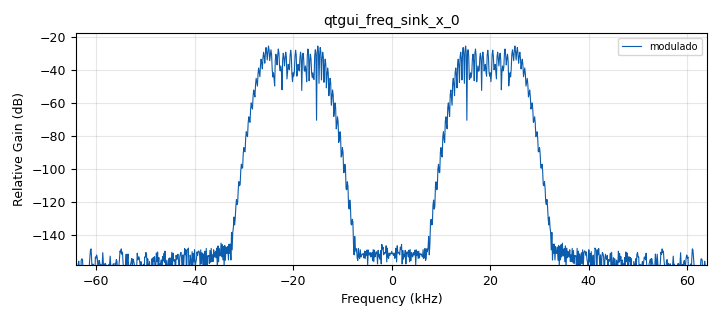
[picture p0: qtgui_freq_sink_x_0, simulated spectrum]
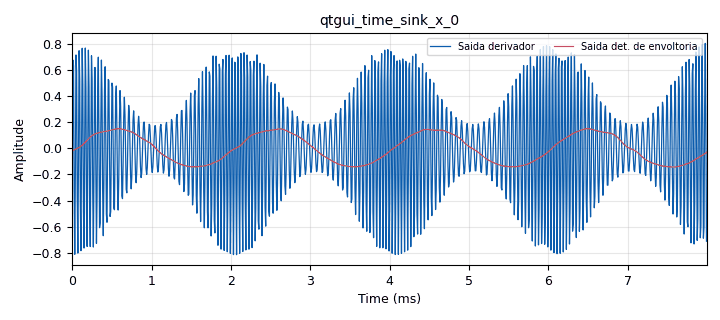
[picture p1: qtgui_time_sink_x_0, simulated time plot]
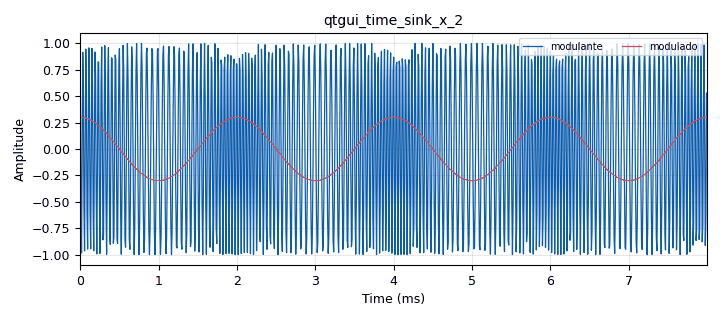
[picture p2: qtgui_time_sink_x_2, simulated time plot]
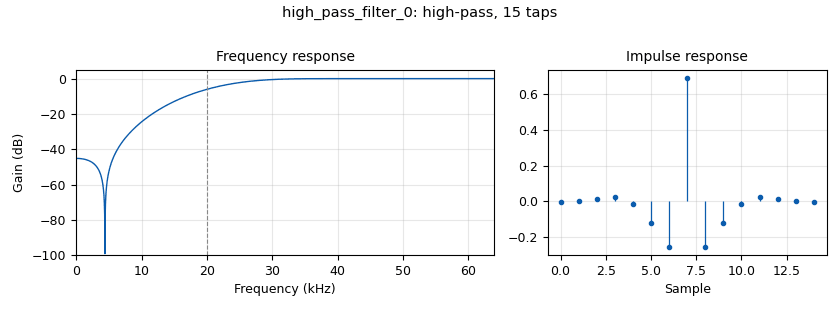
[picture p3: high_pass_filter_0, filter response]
<?xml version='1.0' encoding='utf-8'?>
<?grc format='1' created='3.7.13'?>
<flow_graph>
<block>
<key>options</key>
<param><key>id</key><value>Labo4_4</value></param>
<param><key>category</key><value>Custom</value></param>
<param><key>generate_options</key><value>qt_gui</value></param>
<param><key>title</key><value>Desmodulacao FM com Deteccao por Inclinacao</value></param>
</block>
<block>
<key>variable_qtgui_range</key>
<param><key>id</key><value>A</value></param>
<param><key>value</key><value>0.3</value></param>
<param><key>gui_hint</key><value>0,0,1,1</value></param>
<param><key>label</key><value>Ampl modulante</value></param>
<param><key>orient</key><value>Qt.Horizontal</value></param>
<param><key>start</key><value>0</value></param>
<param><key>step</key><value>0.01</value></param>
<param><key>stop</key><value>0.7</value></param>
</block>
<block>
<key>variable_qtgui_range</key>
<param><key>id</key><value>F</value></param>
<param><key>value</key><value>500</value></param>
<param><key>gui_hint</key><value>0,1,1,1</value></param>
<param><key>label</key><value>Freq modulante</value></param>
<param><key>orient</key><value>Qt.Horizontal</value></param>
<param><key>start</key><value>0</value></param>
<param><key>step</key><value>100</value></param>
<param><key>stop</key><value>1000</value></param>
</block>
<block>
<key>variable</key>
<param><key>id</key><value>samp_rate</value></param>
<param><key>value</key><value>32000*4</value></param>
</block>
<block>
<key>analog_am_demod_cf</key>
<param><key>id</key><value>analog_am_demod_cf_0</value></param>
<param><key>audio_decim</key><value>1</value></param>
<param><key>audio_pass</key><value>5000</value></param>
<param><key>audio_stop</key><value>5500</value></param>
<param><key>chan_rate</key><value>samp_rate</value></param>
</block>
<block>
<key>analog_sig_source_x</key>
<param><key>id</key><value>analog_sig_source_x_0</value></param>
<param><key>amp</key><value>A</value></param>
<param><key>freq</key><value>F</value></param>
<param><key>offset</key><value>0.0</value></param>
<param><key>type</key><value>float</value></param>
<param><key>samp_rate</key><value>samp_rate</value></param>
<param><key>waveform</key><value>analog.GR_SIN_WAVE</value></param>
</block>
<block>
<key>blocks_add_const_vxx</key>
<param><key>id</key><value>blocks_add_const_vxx_0</value></param>
<param><key>const</key><value>1</value></param>
<param><key>type</key><value>float</value></param>
</block>
<block>
<key>blocks_float_to_complex</key>
<param><key>id</key><value>blocks_float_to_complex_0</value></param>
</block>
<block>
<key>blocks_throttle</key>
<param><key>id</key><value>blocks_throttle_0</value></param>
<param><key>samples_per_second</key><value>samp_rate</value></param>
<param><key>type</key><value>float</value></param>
</block>
<block>
<key>blocks_vco_f</key>
<param><key>id</key><value>blocks_vco_f_0</value></param>
<param><key>amplitude</key><value>1</value></param>
<param><key>samp_rate</key><value>samp_rate</value></param>
<param><key>sensitivity</key><value>2*6.28*10**4</value></param>
</block>
<block>
<key>dc_blocker_xx</key>
<param><key>id</key><value>dc_blocker_xx_0</value></param>
<param><key>length</key><value>256</value></param>
<param><key>long_form</key><value>True</value></param>
<param><key>type</key><value>ff</value></param>
</block>
<block>
<key>high_pass_filter</key>
<param><key>id</key><value>high_pass_filter_0</value></param>
<param><key>cutoff_freq</key><value>20000</value></param>
<param><key>decim</key><value>1</value></param>
<param><key>type</key><value>fir_filter_fff</value></param>
<param><key>gain</key><value>1</value></param>
<param><key>samp_rate</key><value>samp_rate</value></param>
<param><key>width</key><value>20000</value></param>
<param><key>win</key><value>firdes.WIN_HAMMING</value></param>
</block>
<block>
<key>qtgui_freq_sink_x</key>
<param><key>id</key><value>qtgui_freq_sink_x_0</value></param>
<param><key>autoscale</key><value>True</value></param>
<param><key>bw</key><value>samp_rate</value></param>
<param><key>fc</key><value>0</value></param>
<param><key>fftsize</key><value>1024</value></param>
<param><key>grid</key><value>True</value></param>
<param><key>label1</key><value>modulado</value></param>
<param><key>showports</key><value>True</value></param>
<param><key>type</key><value>float</value></param>
<param><key>wintype</key><value>firdes.WIN_BLACKMAN_hARRIS</value></param>
</block>
<block>
<key>qtgui_time_sink_x</key>
<param><key>id</key><value>qtgui_time_sink_x_0</value></param>
<param><key>autoscale</key><value>True</value></param>
<param><key>grid</key><value>True</value></param>
<param><key>color1</key><value>"blue"</value></param>
<param><key>label1</key><value>Saida derivador</value></param>
<param><key>color2</key><value>"red"</value></param>
<param><key>label2</key><value>Saida det. de envoltoria</value></param>
<param><key>name</key><value></value></param>
<param><key>nconnections</key><value>2</value></param>
<param><key>size</key><value>1024</value></param>
<param><key>srate</key><value>samp_rate</value></param>
<param><key>type</key><value>float</value></param>
</block>
<block>
<key>qtgui_time_sink_x</key>
<param><key>id</key><value>qtgui_time_sink_x_2</value></param>
<param><key>autoscale</key><value>True</value></param>
<param><key>grid</key><value>True</value></param>
<param><key>color1</key><value>"blue"</value></param>
<param><key>label1</key><value>modulante</value></param>
<param><key>color2</key><value>"red"</value></param>
<param><key>label2</key><value>modulado</value></param>
<param><key>name</key><value></value></param>
<param><key>nconnections</key><value>2</value></param>
<param><key>size</key><value>1024</value></param>
<param><key>srate</key><value>samp_rate</value></param>
<param><key>type</key><value>float</value></param>
</block>
<connection><source_block_id>analog_am_demod_cf_0</source_block_id><sink_block_id>dc_blocker_xx_0</sink_block_id><source_key>0</source_key><sink_key>0</sink_key></connection>
<connection><source_block_id>analog_sig_source_x_0</source_block_id><sink_block_id>blocks_throttle_0</sink_block_id><source_key>0</source_key><sink_key>0</sink_key></connection>
<connection><source_block_id>analog_sig_source_x_0</source_block_id><sink_block_id>qtgui_time_sink_x_2</sink_block_id><source_key>0</source_key><sink_key>1</sink_key></connection>
<connection><source_block_id>blocks_add_const_vxx_0</source_block_id><sink_block_id>blocks_vco_f_0</sink_block_id><source_key>0</source_key><sink_key>0</sink_key></connection>
<connection><source_block_id>blocks_float_to_complex_0</source_block_id><sink_block_id>analog_am_demod_cf_0</sink_block_id><source_key>0</source_key><sink_key>0</sink_key></connection>
<connection><source_block_id>blocks_throttle_0</source_block_id><sink_block_id>blocks_add_const_vxx_0</sink_block_id><source_key>0</source_key><sink_key>0</sink_key></connection>
<connection><source_block_id>blocks_vco_f_0</source_block_id><sink_block_id>high_pass_filter_0</sink_block_id><source_key>0</source_key><sink_key>0</sink_key></connection>
<connection><source_block_id>blocks_vco_f_0</source_block_id><sink_block_id>qtgui_freq_sink_x_0</sink_block_id><source_key>0</source_key><sink_key>0</sink_key></connection>
<connection><source_block_id>blocks_vco_f_0</source_block_id><sink_block_id>qtgui_time_sink_x_2</sink_block_id><source_key>0</source_key><sink_key>0</sink_key></connection>
<connection><source_block_id>dc_blocker_xx_0</source_block_id><sink_block_id>qtgui_time_sink_x_0</sink_block_id><source_key>0</source_key><sink_key>1</sink_key></connection>
<connection><source_block_id>high_pass_filter_0</source_block_id><sink_block_id>blocks_float_to_complex_0</sink_block_id><source_key>0</source_key><sink_key>1</sink_key></connection>
<connection><source_block_id>high_pass_filter_0</source_block_id><sink_block_id>blocks_float_to_complex_0</sink_block_id><source_key>0</source_key><sink_key>0</sink_key></connection>
<connection><source_block_id>high_pass_filter_0</source_block_id><sink_block_id>qtgui_time_sink_x_0</sink_block_id><source_key>0</source_key><sink_key>0</sink_key></connection>
</flow_graph>
